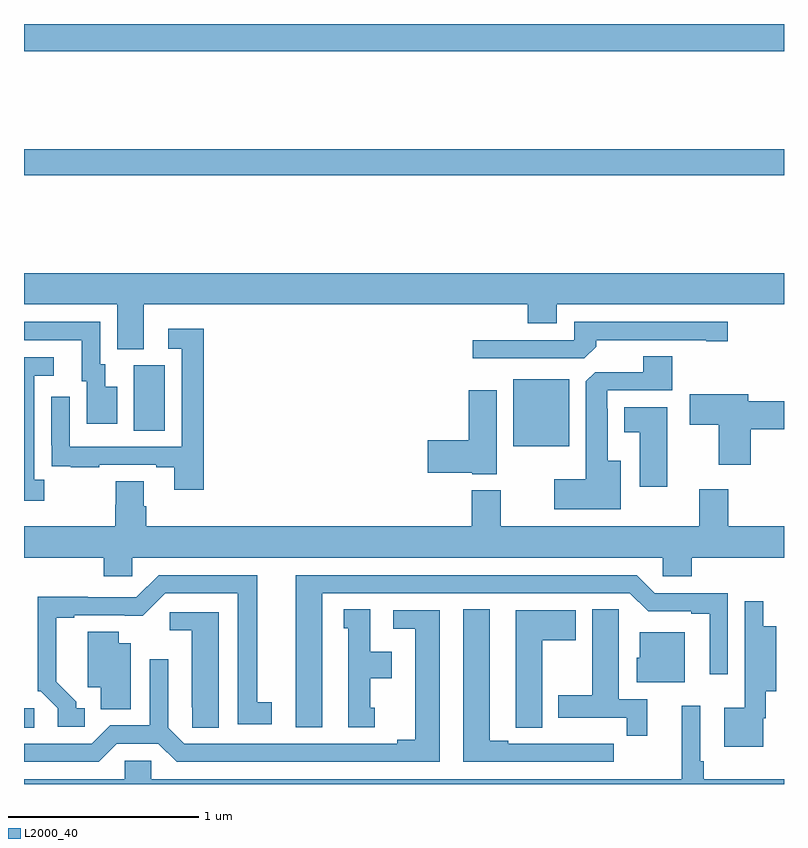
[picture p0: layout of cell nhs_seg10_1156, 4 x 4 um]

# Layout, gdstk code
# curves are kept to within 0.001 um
import gdstk
lib = gdstk.Library(unit=1e-6, precision=1e-09)
def R(c, l, rs):  # rectangles x0, y0, x1, y1
    for r in rs: c.add(gdstk.rectangle(r[:2], r[2:], *l))
def P(c, l, *ps):  # polygons
    for p in ps: c.add(gdstk.Polygon(p, *l))
L2000_40 = (2000, 40)

nhs_seg10_1156 = lib.new_cell('nhs_seg10_1156')
R(nhs_seg10_1156, L2000_40, [(171,1256.797,171.055,1256.898), (173.576,1258.277,173.869,1258.63), (171.578,1258.36,171.742,1258.704), (171,1259.704,175,1259.84), (171,1260.356,175,1260.5)])
P(nhs_seg10_1156, L2000_40, [(171.631,1259.024),(173.651,1259.024),(173.651,1258.925),(173.803,1258.925),(173.803,1259.024),(175,1259.024),(175,1259.188),(171,1259.188),(171,1259.024),(171.491,1259.024),(171.491,1258.789),(171.631,1258.789)],
  [(174.011,1258.802),(174.011,1258.836),(174.59,1258.836),(174.59,1258.831),(174.703,1258.831),(174.703,1258.932),(173.895,1258.932),(173.895,1258.836),(173.361,1258.836),(173.361,1258.74),(173.949,1258.74)],
  [(171.49,1258.591),(171.427,1258.591),(171.427,1258.71),(171.402,1258.71),(171.402,1258.932),(171,1258.932),(171,1258.836),(171.305,1258.836),(171.305,1258.62),(171.329,1258.62),(171.329,1258.395),(171.49,1258.395)],
  [(171.947,1258.897),(171.759,1258.897),(171.759,1258.791),(171.831,1258.791),(171.831,1258.275),(171.24,1258.275),(171.24,1258.537),(171.144,1258.537),(171.144,1258.282),(171.145,1258.282),(171.145,1258.173),(171.247,1258.173),(171.247,1258.167),(171.395,1258.167),(171.395,1258.179),(171.695,1258.179),(171.695,1258.167),(171.791,1258.167),(171.791,1258.05),(171.947,1258.05)],
  [(174.142,1258.201),(174.073,1258.201),(174.073,1258.475),(174.069,1258.475),(174.069,1258.572),(174.413,1258.572),(174.413,1258.751),(174.26,1258.751),(174.26,1258.668),(174.006,1258.668),(173.957,1258.619),(173.957,1258.105),(173.79,1258.105),(173.79,1257.947),(174.142,1257.947)],
  [(171.106,1258.102),(171.054,1258.102),(171.054,1258.65),(171.157,1258.65),(171.157,1258.746),(171,1258.746),(171,1257.992),(171.106,1257.992)],
  [(173.488,1258.573),(173.342,1258.573),(173.342,1258.31),(173.124,1258.31),(173.124,1258.139),(173.358,1258.139),(173.358,1258.13),(173.488,1258.13)],
  [(174.824,1258.367),(175,1258.367),(175,1258.514),(174.811,1258.514),(174.811,1258.552),(174.504,1258.552),(174.504,1258.39),(174.656,1258.39),(174.656,1258.179),(174.824,1258.179)],
  [(174.385,1258.483),(174.158,1258.483),(174.158,1258.352),(174.242,1258.352),(174.242,1258.065),(174.385,1258.065)],
  [(171.57,1257.692),(174.363,1257.692),(174.363,1257.594),(174.515,1257.594),(174.515,1257.692),(175,1257.692),(175,1257.856),(174.707,1257.856),(174.707,1258.051),(174.554,1258.051),(174.554,1257.856),(173.509,1257.856),(173.509,1258.045),(173.357,1258.045),(173.357,1257.856),(171.644,1257.856),(171.644,1257.962),(171.631,1257.962),(171.631,1258.094),(171.484,1258.094),(171.484,1257.969),(171.479,1257.969),(171.479,1257.856),(171,1257.856),(171,1257.692),(171.419,1257.692),(171.419,1257.594),(171.57,1257.594)],
  [(172.57,1257.504),(174.189,1257.504),(174.285,1257.408),(174.512,1257.408),(174.512,1257.396),(174.608,1257.396),(174.608,1257.078),(174.705,1257.078),(174.705,1257.504),(174.321,1257.504),(174.225,1257.6),(172.43,1257.6),(172.43,1256.799),(172.57,1256.799)],
  [(171.319,1256.898),(171.274,1256.898),(171.274,1256.933),(171.169,1257.038),(171.169,1257.375),(171.265,1257.375),(171.265,1257.387),(171.626,1257.386),(171.744,1257.504),(172.124,1257.504),(172.124,1256.814),(172.303,1256.814),(172.303,1256.93),(172.228,1256.93),(172.228,1257.6),(171.708,1257.6),(171.591,1257.483),(171.335,1257.483),(171.335,1257.485),(171.072,1257.485),(171.072,1256.988),(171.087,1256.988),(171.177,1256.898),(171.177,1256.802),(171.319,1256.802)],
  [(174.891,1256.846),(174.904,1256.846),(174.904,1256.987),(174.96,1256.987),(174.96,1257.331),(174.892,1257.331),(174.892,1257.463),(174.794,1257.463),(174.794,1257.227),(174.793,1257.227),(174.793,1256.902),(174.686,1256.902),(174.686,1256.696),(174.891,1256.696)],
  [(174.103,1256.712),(173.99,1256.712),(173.99,1256.713),(173.824,1256.713),(173.824,1256.712),(173.548,1256.712),(173.548,1256.727),(173.452,1256.727),(173.452,1257.419),(173.312,1257.419),(173.312,1256.616),(174.103,1256.616)],
  [(172.846,1256.901),(172.822,1256.901),(172.822,1257.056),(172.936,1257.056),(172.936,1257.196),(172.822,1257.196),(172.822,1257.419),(172.682,1257.419),(172.682,1257.321),(172.706,1257.321),(172.706,1256.799),(172.846,1256.799)],
  [(174.281,1256.946),(174.13,1256.946),(174.13,1257.308),(174.129,1257.308),(174.129,1257.419),(173.99,1257.419),(173.99,1256.967),(173.813,1256.967),(173.813,1256.85),(174.172,1256.85),(174.172,1256.754),(174.281,1256.754)],
  [(173.728,1257.256),(173.905,1257.256),(173.905,1257.415),(173.588,1257.415),(173.588,1256.905),(173.589,1256.905),(173.589,1256.797),(173.728,1256.797)],
  [(171.489,1256.712),(171.707,1256.712),(171.803,1256.616),(173.188,1256.616),(173.188,1257.414),(172.944,1257.414),(172.944,1257.318),(173.06,1257.318),(173.06,1256.732),(172.964,1256.732),(172.964,1256.712),(171.843,1256.712),(171.759,1256.796),(171.759,1257.157),(171.663,1257.157),(171.663,1256.808),(171.453,1256.808),(171.357,1256.712),(171,1256.712),(171,1256.616),(171.393,1256.616)],
  [(172.024,1257.405),(171.768,1257.405),(171.768,1257.308),(171.884,1257.308),(171.884,1256.905),(171.885,1256.905),(171.885,1256.797),(172.024,1256.797)],
  [(171.562,1257.241),(171.499,1257.241),(171.499,1257.302),(171.335,1257.302),(171.335,1257.008),(171.404,1257.008),(171.404,1256.893),(171.562,1256.893)],
  [(174.478,1257.298),(174.242,1257.298),(174.242,1257.165),(174.224,1257.165),(174.224,1257.035),(174.478,1257.035)],
  [(175,1256.524),(174.578,1256.524),(174.578,1256.62),(174.558,1256.62),(174.558,1256.911),(174.461,1256.911),(174.461,1256.524),(171.669,1256.524),(171.669,1256.622),(171.531,1256.622),(171.531,1256.524),(171,1256.524),(171,1256.5),(175,1256.5)])

lib.write_gds('nhs_seg10_1156.gds')
